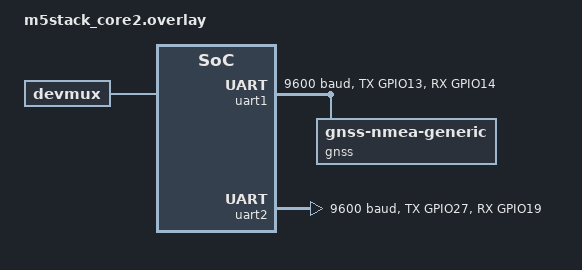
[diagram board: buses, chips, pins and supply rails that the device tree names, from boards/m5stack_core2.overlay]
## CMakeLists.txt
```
# SPDX-License-Identifier: Apache-2.0

cmake_minimum_required(VERSION 3.28.3)
find_package(Zephyr REQUIRED HINTS $ENV{ZEPHYR_BASE})
project(passthrough)

target_sources(app PRIVATE src/main.c)
```

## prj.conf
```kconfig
CONFIG_SERIAL=y
CONFIG_RING_BUFFER=y
CONFIG_UART_INTERRUPT_DRIVEN=y

CONFIG_DEVICE_MUTABLE=y
CONFIG_DEVMUX=y

CONFIG_INPUT=y
# CONFIG_INPUT_EVENT_DUMP=y
# CONFIG_LOG=y
```

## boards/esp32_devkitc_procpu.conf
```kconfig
# Copyright (c) 2025 Joel Guittet
# SPDX-License-Identifier: Apache-2.0
```

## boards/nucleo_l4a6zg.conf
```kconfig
# Copyright (c) 2025 Joel Guittet
# SPDX-License-Identifier: Apache-2.0
```

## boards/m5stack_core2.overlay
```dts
#include <zephyr/dt-bindings/pinctrl/esp-pinctrl-common.h>
#include <dt-bindings/pinctrl/esp32-pinctrl.h>
#include <zephyr/dt-bindings/pinctrl/esp32-gpio-sigmap.h>

/ {
        aliases {
                gnss = &gnss;
        };

        chosen {
                uart,passthrough = &devmux;
        };

        devmux: devmux {
                compatible = "zephyr,devmux";
                devices = <&uart1 &uart2>;
                selected = <1>;
                status = "okay";
                zephyr,mutable;
        };
};

&pinctrl {
        uart1_default: uart1_default {
                group1 {
                        pinmux = <UART1_TX_GPIO13>;
                        // output-high;
                };
                group2 {
                        pinmux = <UART1_RX_GPIO14>;
                        bias-pull-up;
                };
        };

        uart2_default: uart2_default {
                group1 {
                        pinmux = <UART2_TX_GPIO27>;
                        // output-high;
                };
                group2 {
                        pinmux = <UART2_RX_GPIO19>;
                        bias-pull-up;
                };
        };
};


&uart1 {
        status = "okay";
        current-speed = <9600>;

        pinctrl-0 = <&uart1_default>;
        pinctrl-names = "default";

        gnss: gnss-nmea-generic {
                compatible = "gnss-nmea-generic";
        };
};

&uart2 {
        status = "okay";
        current-speed = <9600>;

        pinctrl-0 = <&uart2_default>;
        pinctrl-names = "default";
};
```

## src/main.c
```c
/*
 * Copyright (c) 2024 Argentum Systems Ltd.
 *
 * SPDX-License-Identifier: Apache-2.0
 */

#include <zephyr/kernel.h>
#include <zephyr/device.h>
#include <zephyr/drivers/uart.h>
#include <zephyr/sys/ring_buffer.h>

#include <stdio.h>
#include <string.h>

struct patch_info {
	const uint8_t * const name;

	const struct device *rx_dev;
	struct ring_buf *rx_ring_buf;
	bool rx_error;
	bool rx_overflow;

	const struct device *tx_dev;
};

#define DEV_CONSOLE DEVICE_DT_GET(DT_CHOSEN(zephyr_console))
#define DEV_OTHER   DEVICE_DT_GET(DT_NODELABEL(uart1))

#define RING_BUF_SIZE 64

RING_BUF_DECLARE(rb_console, RING_BUF_SIZE);
struct patch_info patch_c2o = {
	.name = "c2o",

	.rx_dev = DEV_CONSOLE,
	.rx_ring_buf = &rb_console,
	.rx_error = false,
	.rx_overflow = false,

	.tx_dev = DEV_OTHER,
};

RING_BUF_DECLARE(rb_other, RING_BUF_SIZE);
struct patch_info patch_o2c = {
	.name = "o2c",

	.rx_dev = DEV_OTHER,
	.rx_ring_buf = &rb_other,
	.rx_error = false,
	.rx_overflow = false,

	.tx_dev = DEV_CONSOLE,
};

static void uart_cb(const struct device *dev, void *ctx)
{
	struct patch_info *patch = (struct patch_info *)ctx;
	int ret;
	uint8_t *buf;
	uint32_t len;

	while (uart_irq_update(patch->rx_dev) > 0) {
		ret = uart_irq_rx_ready(patch->rx_dev);
		if (ret < 0) {
			patch->rx_error = true;
		}
		if (ret <= 0) {
			break;
		}

		len = ring_buf_put_claim(patch->rx_ring_buf, &buf, RING_BUF_SIZE);
		if (len == 0) {
			/* no space for Rx, disable the IRQ */
			uart_irq_rx_disable(patch->rx_dev);
			patch->rx_overflow = true;
			break;
		}

		ret = uart_fifo_read(patch->rx_dev, buf, len);
		if (ret < 0) {
			patch->rx_error = true;
		}
		if (ret <= 0) {
			break;
		}
		len = ret;

		ret = ring_buf_put_finish(patch->rx_ring_buf, len);
		if (ret != 0) {
			patch->rx_error = true;
			break;
		}
	}
}

static void passthrough(struct patch_info *patch)
{
	int ret;
	uint8_t *buf;
	uint32_t len;

	if (patch->rx_error) {
		printk("<<%s: Rx Error!>>\n", patch->name);
		patch->rx_error = false;
	}

	if (patch->rx_overflow) {
		printk("<<%s: Rx Overflow!>>\n", patch->name);
		patch->rx_overflow = false;
	}

	len = ring_buf_get_claim(patch->rx_ring_buf, &buf, RING_BUF_SIZE);
	if (len == 0) {
		goto done;
	}

	ret = uart_fifo_fill(patch->tx_dev, buf, len);
	if (ret < 0) {
		goto error;
	}
	len = ret;

	ret = ring_buf_get_finish(patch->rx_ring_buf, len);
	if (ret < 0) {
		goto error;
	}

done:
	uart_irq_rx_enable(patch->rx_dev);
	return;

error:
	printk("<<%s: Tx Error!>>\n", patch->name);
}

int main(void)
{
	printk("Console Device: %p\n", patch_c2o.rx_dev);
	printk("Other Device:   %p\n", patch_o2c.rx_dev);

	uart_irq_callback_user_data_set(patch_c2o.rx_dev, uart_cb, (void *)&patch_c2o);
	uart_irq_callback_user_data_set(patch_o2c.rx_dev, uart_cb, (void *)&patch_o2c);

	for (;;) {
		passthrough(&patch_c2o);
		passthrough(&patch_o2c);
	}

	return 0;
}
```
